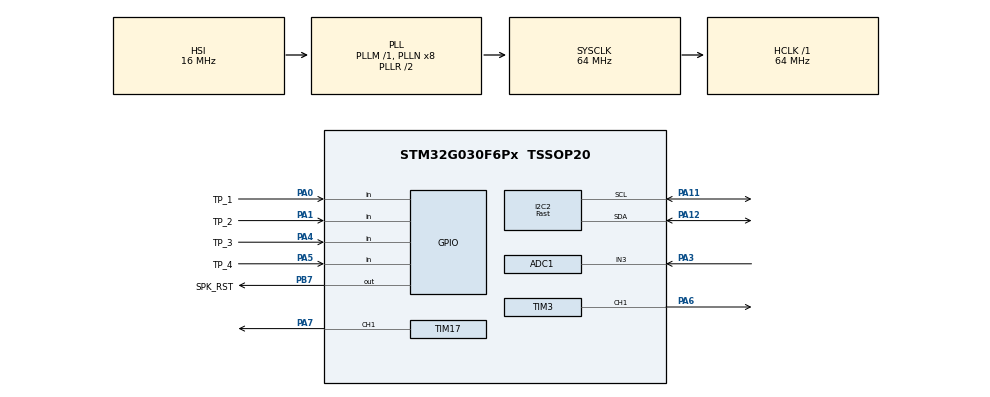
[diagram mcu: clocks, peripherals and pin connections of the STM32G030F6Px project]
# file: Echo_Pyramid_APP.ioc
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ADC1.NbrOfConversion=1
ADC1.NbrOfConversionFlag=0
ADC1.SamplingTimeCommon1=ADC_SAMPLETIME_160CYCLES_5
ADC1.SelectedChannel=ADC_CHANNEL_3|ADC_CHANNEL_VREFINT
ADC1.Sequencer=NOT_FULLY_CONFIGURABLE
ADC1.master=1
Dma.Request0=TIM3_CH1
Dma.Request1=TIM17_CH1
Dma.TIM17_CH1.1.Direction=DMA_MEMORY_TO_PERIPH
Dma.TIM17_CH1.1.EventEnable=DISABLE
Dma.TIM17_CH1.1.Instance=DMA1_Channel2
Dma.TIM17_CH1.1.MemDataAlignment=DMA_MDATAALIGN_BYTE
Dma.TIM17_CH1.1.MemInc=DMA_MINC_ENABLE
Dma.TIM17_CH1.1.Mode=DMA_NORMAL
Dma.TIM17_CH1.1.PeriphDataAlignment=DMA_PDATAALIGN_HALFWORD
Dma.TIM17_CH1.1.PeriphInc=DMA_PINC_DISABLE
Dma.TIM17_CH1.1.Polarity=HAL_DMAMUX_REQ_GEN_RISING
Dma.TIM17_CH1.1.Priority=DMA_PRIORITY_HIGH
Dma.TIM17_CH1.1.RequestNumber=1
Dma.TIM17_CH1.1.SignalID=NONE
Dma.TIM17_CH1.1.SyncEnable=DISABLE
Dma.TIM17_CH1.1.SyncPolarity=HAL_DMAMUX_SYNC_NO_EVENT
Dma.TIM17_CH1.1.SyncRequestNumber=1
Dma.TIM17_CH1.1.SyncSignalID=NONE
Dma.TIM3_CH1.0.Direction=DMA_MEMORY_TO_PERIPH
Dma.TIM3_CH1.0.EventEnable=DISABLE
Dma.TIM3_CH1.0.Instance=DMA1_Channel1
Dma.TIM3_CH1.0.MemDataAlignment=DMA_MDATAALIGN_BYTE
Dma.TIM3_CH1.0.MemInc=DMA_MINC_ENABLE
Dma.TIM3_CH1.0.Mode=DMA_NORMAL
Dma.TIM3_CH1.0.PeriphDataAlignment=DMA_PDATAALIGN_HALFWORD
Dma.TIM3_CH1.0.PeriphInc=DMA_PINC_DISABLE
Dma.TIM3_CH1.0.Polarity=HAL_DMAMUX_REQ_GEN_RISING
Dma.TIM3_CH1.0.Priority=DMA_PRIORITY_HIGH
Dma.TIM3_CH1.0.RequestNumber=1
Dma.TIM3_CH1.0.SignalID=NONE
Dma.TIM3_CH1.0.SyncEnable=DISABLE
Dma.TIM3_CH1.0.SyncPolarity=HAL_DMAMUX_SYNC_NO_EVENT
Dma.TIM3_CH1.0.SyncRequestNumber=1
Dma.TIM3_CH1.0.SyncSignalID=NONE
I2C2.I2C_Speed_Mode=I2C_Fast
I2C2.OwnAddress=0x1A<<1
I2C2.Timing=0x00C12166
IWDG.Prescaler=IWDG_PRESCALER_16
Mcu.Family=STM32G0
Mcu.Name=STM32G030F6Px
Mcu.Package=TSSOP20
NVIC.DMA1_Channel1_IRQn=true\:1\:0\:true\:false\:true\:false\:true\:true
NVIC.DMA1_Channel2_3_IRQn=true\:1\:0\:true\:false\:true\:false\:true\:true
NVIC.I2C2_IRQn=true\:0\:0\:false\:false\:true\:true\:true\:true
PA0.GPIO_Label=TP_1
PA0.GPIO_PuPd=GPIO_PULLUP
PA0.Signal=GPIO_Input
PA1.GPIO_Label=TP_2
PA1.GPIO_PuPd=GPIO_PULLUP
PA1.Signal=GPIO_Input
PA11\ [PA9].GPIO_Pu=GPIO_PULLUP
PA11\ [PA9].Mode=I2C
PA11\ [PA9].PinState=GPIO_PIN_SET
PA11\ [PA9].Signal=I2C2_SCL
PA12\ [PA10].GPIO_Pu=GPIO_PULLUP
PA12\ [PA10].Mode=I2C
PA12\ [PA10].PinState=GPIO_PIN_SET
PA12\ [PA10].Signal=I2C2_SDA
PA13.Mode=Serial_Wire
PA13.Signal=SYS_SWDIO
PA14-BOOT0.Mode=Serial_Wire
PA14-BOOT0.Signal=SYS_SWCLK
PA14-BOOT0__PA15.StandardMode=true
PA3.Mode=IN3
PA3.Signal=ADC1_IN3
PA4.GPIO_Label=TP_3
PA4.GPIO_PuPd=GPIO_PULLUP
PA4.Signal=GPIO_Input
PA5.GPIO_Label=TP_4
PA5.GPIO_PuPd=GPIO_PULLUP
PA5.Signal=GPIO_Input
PA6.Signal=S_TIM3_CH1
PA7.Signal=S_TIM17_CH1
PB0__PB1__PB2__PA8.StandardMode=true
PB3__PB4__PB5__PB6.StandardMode=true
PB7.GPIO_FM7=SYSCFG_FASTMODEPLUS_PB7
PB7.GPIO_Label=SPK_RST
PB7.GPIO_PuPd=GPIO_PULLUP
PB7.GPIO_Speed=GPIO_SPEED_FREQ_HIGH
PB7.PinState=GPIO_PIN_SET
PB7.Signal=GPIO_Output
PB7__PB8.StandardMode=true
PC14-OSC32_IN\ (PC14)__PB9.StandardMode=true
ProjectManager.HeapSize=0x200
ProjectManager.StackSize=0x400
ProjectManager.TargetToolchain=STM32CubeIDE
RCC.ADCFreq_Value=64000000
RCC.AHBFreq_Value=64000000
RCC.CortexFreq_Value=64000000
RCC.EXTERNAL_CLOCK_VALUE=12288000
RCC.HCLKFreq_Value=64000000
RCC.HSE_VALUE=8000000
RCC.HSI_VALUE=16000000
RCC.LSE_VALUE=32768
RCC.SYSCLKFreq_VALUE=64000000
RCC.SYSCLKSource=RCC_SYSCLKSOURCE_PLLCLK
RCC.VCOOutputFreq_Value=128000000
SH.S_TIM17_CH1.0=TIM17_CH1,PWM Generation1 CH1
SH.S_TIM3_CH1.0=TIM3_CH1,PWM Generation1 CH1
TIM17.Channel=TIM_CHANNEL_1
TIM17.Period=79
TIM3.Channel-PWM\ Generation1\ CH1=TIM_CHANNEL_1
TIM3.Period=79
VP_ADC1_Vref_Input.Mode=IN-Vrefint
VP_IWDG_VS_IWDG.Mode=IWDG_Activate
VP_TIM17_VS_ClockSourceINT.Mode=Enable_Timer
VP_TIM3_VS_ClockSourceINT.Mode=Internal
board=custom

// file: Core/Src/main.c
/* USER CODE BEGIN Header */
/**
 ******************************************************************************
 * @file           : main.c
 * @brief          : Main program body
 ******************************************************************************
 * @attention
 *
 * Copyright (c) 2025 STMicroelectronics.
 * All rights reserved.
 *
 * This software is licensed under terms that can be found in the LICENSE file
 * in the root directory of this software component.
 * If no LICENSE file comes with this software, it is provided AS-IS.
 *
 ******************************************************************************
 */
/* USER CODE END Header */
#include "main.h"
#include "adc.h"
#include "dma.h"
#include "i2c.h"
#include "iwdg.h"
#include "tim.h"
#include "gpio.h"

/* USER CODE BEGIN Includes */
#include "i2c_ex.h"
#include "rgb.h"
#include "myflash.h"
#include "string.h"
#include "stm32g0xx_ll_adc.h"
/* USER CODE END Includes */

/* USER CODE BEGIN PV */
__IO uint8_t touch_button_status_reg[4] = {0};
__IO uint8_t rgb_brightness_reg[2]      = {0};
__IO uint8_t rgb1_status_reg[14][4]     = {0};
__IO uint8_t rgb2_status_reg[14][4]     = {0};
__IO uint8_t spk_restart_reg            = 0;
__IO uint16_t usb_5v_reg                = 0;
__IO uint8_t flash_write_back_reg       = 0;
__IO uint8_t iap_update_reg             = 0;
__IO uint8_t sw_ver_reg                 = FIRMWARE_VERSION;
__IO uint8_t i2c_addr_reg               = I2C_ADDR_REG_DEFAULT;

__IO uint32_t i2c_stop_timeout_delay       = 0;
__IO uint32_t spk_restart_tick             = 0;
__IO uint8_t rgb_brightness_change_flag[2] = {0};
__IO uint8_t rgb_value_change_flag[2]      = {0};
__IO uint8_t rgb_send_complete_flag[2]     = {1, 1};
__IO uint32_t last_adc_tick                = 0;

static GPIO_TypeDef *const gpio_ports[TOUCH_BUTTON_COUNT] = {TP_4_GPIO_Port, TP_1_GPIO_Port, TP_2_GPIO_Port,
                                                             TP_3_GPIO_Port};

static const uint32_t gpio_pins[TOUCH_BUTTON_COUNT] = {TP_4_Pin, TP_1_Pin, TP_2_Pin, TP_3_Pin};

/* USER CODE END PV */

void SystemClock_Config(void);

/* USER CODE BEGIN 0 */

static void iap_set()
{
    uint8_t i;
    uint32_t *pVecTab = (uint32_t *)(0x20000000);
    for (i = 0; i < 48; i++) {
        *(pVecTab++) = *(__IO uint32_t *)(APPLICATION_ADDRESS + (i << 2));
    }
    __HAL_RCC_SYSCFG_CLK_ENABLE();
    __HAL_SYSCFG_REMAPMEMORY_SRAM();
}

static void echo_pyramid_init(void)
{
    uint8_t flag1 = 0, flag2 = 0;

    // Process RGB1 brightness
    uint8_t rgb1_brightness = get_echo_pyramid_rgb1_brightness();
    if (rgb1_brightness == 0xFF) {
        flag1++;
        rgb_brightness_reg[0] = RGB_BRIGHTNESS_DEFAULT;
    } else {
        rgb_brightness_reg[0] = rgb1_brightness;
    }

    // Process RGB2 brightness
    uint8_t rgb2_brightness = get_echo_pyramid_rgb2_brightness();
    if (rgb2_brightness == 0xFF) {
        flag2++;
        rgb_brightness_reg[1] = RGB_BRIGHTNESS_DEFAULT;
    } else {
        rgb_brightness_reg[1] = rgb2_brightness;
    }

    // Update RGB1 settings if modified
    if (flag1) {
        set_echo_pyramid_rgb1_brightness(rgb_brightness_reg[0]);
    }

    // Update RGB2 settings if modified
    if (flag2) {
        set_echo_pyramid_rgb2_brightness(rgb_brightness_reg[1]);
    }

    // Process I2C address
    uint8_t i2c_addr = get_i2c_addr();
    if (i2c_addr == 0xFF) {
        i2c_addr_reg = I2C_ADDR_REG_DEFAULT;
        set_i2c_addr(I2C_ADDR_REG_DEFAULT);
    } else {
        i2c_addr_reg = i2c_addr;
    }
}

void Slave_Complete_Callback(uint8_t *rx_data, uint16_t len)
{
    uint8_t rx_buf[64]  = {0};
    uint8_t tx_buf[64]  = {0};
    uint8_t rx_mark[64] = {0};
    if (len > 1) {
        if (rx_data[0] >= RGB1_BRIGHTNESS_REG_ADDR && rx_data[0] <= RGB2_BRIGHTNESS_REG_ADDR && len <= 3) {
            uint8_t offset = rx_data[0] - RGB1_BRIGHTNESS_REG_ADDR;
            uint8_t limit  = len - 1;

            for (uint8_t i = 0; i < limit; i++) {
                uint8_t index  = offset + i;
                rx_buf[index]  = rx_data[i + 1];
                rx_mark[index] = 1;
            }

            for (uint8_t i = 0; i < 2; i++) {
                if (rx_mark[i] && rx_buf[i] <= 100 && rgb_brightness_reg[i] != rx_buf[i]) {
                    rgb_brightness_reg[i] = rx_buf[i];
                    (i == 0) ? (rgb_brightness_change_flag[0] = 1) : (rgb_brightness_change_flag[1] = 1);
                }
            }
        } else if (rx_data[0] >= RGB1_STATUS_REG_ADDR && rx_data[0] <= (RGB1_STATUS_REG_ADDR + 55) && len <= 57) {
            uint8_t offset = rx_data[0] - RGB1_STATUS_REG_ADDR;
            uint8_t limit  = len - 1;

            for (uint8_t i = 0; i < limit; i++) {
                uint8_t index  = offset + i;
                rx_buf[index]  = rx_data[i + 1];
                rx_mark[index] = 1;
            }

            for (uint8_t i = 0; i < 56; i++) {
                if (rx_mark[i]) {
                    uint8_t rgb_index = i / 4;
                    uint8_t sub_index = i % 4;
                    if (rgb1_status_reg[rgb_index][sub_index] != rx_buf[i]) {
                        rgb1_status_reg[rgb_index][sub_index] = rx_buf[i];
                        rgb_value_change_flag[0]              = 1;
                    }
                }
            }

        } else if (rx_data[0] >= RGB2_STATUS_REG_ADDR && rx_data[0] <= (RGB2_STATUS_REG_ADDR + 55) && len <= 57) {
            uint8_t offset = rx_data[0] - RGB2_STATUS_REG_ADDR;
            uint8_t limit  = len - 1;
            for (uint8_t i = 0; i < limit; i++) {
                uint8_t index  = offset + i;
                rx_buf[index]  = rx_data[i + 1];
                rx_mark[index] = 1;
            }

            for (uint8_t i = 0; i < 56; i++) {
                if (rx_mark[i]) {
                    uint8_t rgb_index = i / 4;
                    uint8_t sub_index = i % 4;

                    if (rgb2_status_reg[rgb_index][sub_index] != rx_buf[i]) {
                        rgb2_status_reg[rgb_index][sub_index] = rx_buf[i];
                        rgb_value_change_flag[1]              = 1;
                    }
                }
            }

        } else if (rx_data[0] == SPK_RESTART_REG_ADDR && len == 2) {
            if (rx_data[1] == SPK_RESTART_VALUE) {
                if (spk_restart_reg != SPK_RESTART_VALUE) {
                    spk_restart_reg = SPK_RESTART_VALUE;
                }
            }
        } else if (rx_data[0] == FLASH_WRITE_BACK_REG_ADDR && len == 2) {
            if (rx_data[1] == FLASH_WRITE_BACK_RGB1_VALUE) {
                if (rgb_brightness_reg[0] != get_echo_pyramid_rgb1_brightness()) {
                    set_echo_pyramid_rgb1_brightness(rgb_brightness_reg[0]);
                }
            } else if (rx_data[1] == FLASH_WRITE_BACK_RGB2_VALUE) {
                if (rgb_brightness_reg[1] != get_echo_pyramid_rgb2_brightness()) {
                    set_echo_pyramid_rgb2_brightness(rgb_brightness_reg[1]);
                }
            }
        } else if (rx_data[0] == IAP_UPDATE_REG_ADDR && len == 2) {
            if (rx_data[1] == IAP_UPDATE_VALUE) {
                NVIC_SystemReset();
            }
        } else if (rx_data[0] == I2C_ADDR_REG_ADDR && len == 2) {
            if (rx_data[1] >= I2C_ADDR_REG_MIN && rx_data[1] <= I2C_ADDR_REG_MAX) {
                if (i2c_addr_reg != rx_data[1]) {
                    i2c_addr_reg = rx_data[1];
                    set_i2c_addr(rx_data[1]);
                    user_i2c_init();
                }
            }
        }
    }
    if (len == 1) {
        if (rx_data[0] <= 0x03) {
            uint8_t *src_ptr = (uint8_t *)(touch_button_status_reg + rx_data[0] - 0x00);
            uint8_t data_len = TOUCH_BUTTON_COUNT - rx_data[0];
            memcpy(tx_buf, src_ptr, data_len);
            i2c2_set_send_data(tx_buf, data_len);
        } else if (rx_data[0] >= 0x10 && rx_data[0] <= 0x11) {
            uint8_t *src_ptr = (uint8_t *)(rgb_brightness_reg + rx_data[0] - 0x10);
            uint8_t data_len = 2 + 0x10 - rx_data[0];
            memcpy(tx_buf, src_ptr, data_len);
            i2c2_set_send_data(tx_buf, data_len);
        } else if (rx_data[0] >= 0x20 && rx_data[0] <= 0x57) {
            uint8_t *src_ptr = (uint8_t *)rgb1_status_reg + (rx_data[0] - 0x20);
            uint8_t data_len = 56 + 0x20 - rx_data[0];
            memcpy(tx_buf, src_ptr, data_len);
            i2c2_set_send_data(tx_buf, data_len);
        } else if (rx_data[0] >= 0x60 && rx_data[0] <= 0x97) {
            uint8_t *src_ptr = (uint8_t *)rgb2_status_reg + (rx_data[0] - 0x60);
            uint8_t data_len = 56 + 0x60 - rx_data[0];
            memcpy(tx_buf, src_ptr, data_len);
            i2c2_set_send_data(tx_buf, data_len);
        } else if (rx_data[0] >= USB_5V_REG_ADDR && rx_data[0] <= (USB_5V_REG_ADDR + 1)) {
            uint8_t usb_bytes[2] = {(uint8_t)(usb_5v_reg & 0xFF), (uint8_t)(usb_5v_reg >> 8)};
            uint8_t offset       = rx_data[0] - USB_5V_REG_ADDR;
            memcpy(tx_buf, usb_bytes + offset, 2 - offset);
            i2c2_set_send_data(tx_buf, 2 - offset);
        } else if (rx_data[0] == 0xFE) {
            tx_buf[0] = sw_ver_reg;
            i2c2_set_send_data(tx_buf, 1);
        } else if (rx_data[0] == 0xFF) {
            tx_buf[0] = i2c_addr_reg;
            i2c2_set_send_data(tx_buf, 1);
        }
    }
}

static void update_button_status(void)
{
    for (uint8_t i = 0; i < TOUCH_BUTTON_COUNT; i++) {
        uint8_t new_status =
            (LL_GPIO_IsInputPinSet(gpio_ports[i], gpio_pins[i]) == 0) ? TOUCH_BUTTON_PRESSED : TOUCH_BUTTON_RELEASED;

        if (touch_button_status_reg[i] != new_status) {
            touch_button_status_reg[i] = new_status;
        }
    }
}

static void app_handle_spk_restart(void)
{
    uint32_t tick = HAL_GetTick();
    if (spk_restart_tick == 0) {
        spk_restart_tick = tick;
        LL_GPIO_ResetOutputPin(SPK_RST_GPIO_Port, SPK_RST_Pin);
    } else if (tick - spk_restart_tick >= SPK_RESTART_TIME) {
        LL_GPIO_SetOutputPin(SPK_RST_GPIO_Port, SPK_RST_Pin);
        spk_restart_tick = 0;
        spk_restart_reg  = 0;
    }
}

static uint16_t user_adc_get_adc_value(uint32_t adc_channel)
{
    uint8_t valid_count            = 0;  // Record the number of successful collections / 记录成功采集的次数
    uint32_t sum                   = 0;  // Accumulator for the samples / 样本累加器
    ADC_ChannelConfTypeDef sConfig = {0};

    // Clear the Channel Selection Register (Critical for STM32G0/C0 series to reset sequence)
    // 清除通道选择寄存器（对于 STM32G0/C0 系列重置序列至关重要）
    hadc1.Instance->CHSELR = 0;

    sConfig.Channel      = adc_channel;
    sConfig.Rank         = ADC_RANK_CHANNEL_NUMBER;
    sConfig.SamplingTime = ADC_SAMPLETIME_79CYCLES_5;

    // Configure the ADC channel. If configuration fails, return error immediately.
    // 配置 ADC 通道。如果配置失败，直接返回错误。
    if (HAL_ADC_ConfigChannel(&hadc1, &sConfig) != HAL_OK) {
        return 0xFFFF;
    }

    // Loop to sample 20 times / 循环采集 20 次
    for (uint8_t i = 0; i < 20; i++) {
        HAL_ADC_Start(&hadc1);

        // Wait for conversion completion, timeout set to 2ms (sufficient for single conversion)
        // 等待转换完成，超时设为 2ms (足够单次转换了)
        if (HAL_ADC_PollForConversion(&hadc1, 2) == HAL_OK) {
            sum += HAL_ADC_GetValue(&hadc1);
            valid_count++;
        } else {
            // If timeout occurs, stop to reset state and skip this sample (continue to next loop)
            // 如果发生超时，停止以复位状态并跳过此次采样（继续下一次循环）
            HAL_ADC_Stop(&hadc1);
        }
    }

    HAL_ADC_Stop(&hadc1);  // End sampling, stop ADC / 采集结束，停止 ADC

    // Calculate average only if there are enough successful samples
    // 只有当成功采集次数足够多才计算平均值
    if (valid_count > 0) {
        return (uint16_t)(sum / valid_count);  // The divisor is the actual successful count / 除数是实际成功的次数
    } else {
        return 0xFFFF;  // All failed, return error / 全部失败，返回错误
    }
}

void user_adc_update_usb_5v(void)
{
    uint32_t temp            = 0;
    uint16_t adc_raw         = 0;
    uint16_t vref_mv         = 0;
    uint16_t usb_5v_reg_temp = 0;

    // 1. 获取参考电压
    adc_raw = user_adc_get_adc_value(ADC_CHANNEL_VREFINT);
    if (adc_raw == 0xFFFF) {
        return;  // VrefInt 失败，直接退出，保留上次有效值
    }
    vref_mv = __HAL_ADC_CALC_VREFANALOG_VOLTAGE(adc_raw, LL_ADC_RESOLUTION_12B);

    // 2. 获取 USB 5V 电压
    usb_5v_reg_temp = user_adc_get_adc_value(ADC_CHANNEL_3);
    if (usb_5v_reg_temp == 0xFFFF) {
        return;  // USB 5V 采集失败，保留上次有效值
    }

    // 3. 计算实际电压并更新全局变量
    temp       = __HAL_ADC_CALC_DATA_TO_VOLTAGE(vref_mv, usb_5v_reg_temp, LL_ADC_RESOLUTION_12B);
    usb_5v_reg = (uint16_t)(temp * 2);
}
/* USER CODE END 0 */

int main(void)
{
    /* USER CODE BEGIN 1 */
    iap_set();
    echo_pyramid_init();
    /* USER CODE END 1 */

    /* MCU Configuration--------------------------------------------------------*/

    /* Reset of all peripherals, Initializes the Flash interface and the Systick. */
    HAL_Init();

    /* Configure the system clock */
    SystemClock_Config();

    /* Initialize all configured peripherals */
    MX_GPIO_Init();
    MX_DMA_Init();
    MX_I2C2_Init();
    MX_IWDG_Init();
    MX_TIM3_Init();
    MX_TIM17_Init();
    MX_ADC1_Init();
    /* USER CODE BEGIN 2 */
    rgb_init();
    user_i2c_init();
    i2c2_it_enable();
    // HAL_Delay(1000);
    // rgb_test();
    HAL_ADCEx_Calibration_Start(&hadc1);
    last_adc_tick = HAL_GetTick();
    /* USER CODE END 2 */

    /* Infinite loop */
    /* USER CODE BEGIN WHILE */
    while (1) {
        update_button_status();
        if (rgb_value_change_flag[RGB_DEVICE_1] || rgb_brightness_change_flag[RGB_DEVICE_1]) {
            if (rgb_send_complete_flag[RGB_DEVICE_1]) {
                rgb_send_complete_flag[RGB_DEVICE_1]     = 0;
                rgb_value_change_flag[RGB_DEVICE_1]      = 0;
                rgb_brightness_change_flag[RGB_DEVICE_1] = 0;
                rgb_show(RGB_DEVICE_1);
            }
        }

        if (rgb_value_change_flag[RGB_DEVICE_2] || rgb_brightness_change_flag[RGB_DEVICE_2]) {
            if (rgb_send_complete_flag[RGB_DEVICE_2]) {
                rgb_send_complete_flag[RGB_DEVICE_2]     = 0;
                rgb_value_change_flag[RGB_DEVICE_2]      = 0;
                rgb_brightness_change_flag[RGB_DEVICE_2] = 0;
                rgb_show(RGB_DEVICE_2);
            }
        }

        if (spk_restart_reg == SPK_RESTART_VALUE) {
            app_handle_spk_restart();
        }

        i2c_timeout_counter = 0;
        if (i2c_stop_timeout_flag) {
            if (i2c_stop_timeout_delay < HAL_GetTick()) {
                i2c_stop_timeout_counter++;
                i2c_stop_timeout_delay = HAL_GetTick() + 10;
            }
        }
        if (i2c_stop_timeout_counter > 50) {
            LL_I2C_DeInit(I2C2);
            LL_I2C_DisableAutoEndMode(I2C2);
            LL_I2C_Disable(I2C2);
            LL_I2C_DisableIT_ADDR(I2C2);
            user_i2c_init();
            i2c2_it_enable();
            HAL_Delay(500);
        }

        if (HAL_GetTick() - last_adc_tick >= 1000) {
            user_adc_update_usb_5v();
            last_adc_tick = HAL_GetTick();
        }

        /* USER CODE END WHILE */

        /* USER CODE BEGIN 3 */
        LL_IWDG_ReloadCounter(IWDG);
    }
    /* USER CODE END 3 */
}

void SystemClock_Config(void)
{
    RCC_OscInitTypeDef RCC_OscInitStruct = {0};
    RCC_ClkInitTypeDef RCC_ClkInitStruct = {0};

    /** Configure the main internal regulator output voltage
     */
    HAL_PWREx_ControlVoltageScaling(PWR_REGULATOR_VOLTAGE_SCALE1);

    /** Initializes the RCC Oscillators according to the specified parameters
     * in the RCC_OscInitTypeDef structure.
     */
    RCC_OscInitStruct.OscillatorType      = RCC_OSCILLATORTYPE_HSI | RCC_OSCILLATORTYPE_LSI;
    RCC_OscInitStruct.HSIState            = RCC_HSI_ON;
    RCC_OscInitStruct.HSIDiv              = RCC_HSI_DIV1;
    RCC_OscInitStruct.HSICalibrationValue = RCC_HSICALIBRATION_DEFAULT;
    RCC_OscInitStruct.LSIState            = RCC_LSI_ON;
    RCC_OscInitStruct.PLL.PLLState        = RCC_PLL_ON;
    RCC_OscInitStruct.PLL.PLLSource       = RCC_PLLSOURCE_HSI;
    RCC_OscInitStruct.PLL.PLLM            = RCC_PLLM_DIV1;
    RCC_OscInitStruct.PLL.PLLN            = 8;
    RCC_OscInitStruct.PLL.PLLP            = RCC_PLLP_DIV2;
    RCC_OscInitStruct.PLL.PLLR            = RCC_PLLR_DIV2;
    if (HAL_RCC_OscConfig(&RCC_OscInitStruct) != HAL_OK) {
        Error_Handler();
    }

    /** Initializes the CPU, AHB and APB buses clocks
     */
    RCC_ClkInitStruct.ClockType      = RCC_CLOCKTYPE_HCLK | RCC_CLOCKTYPE_SYSCLK | RCC_CLOCKTYPE_PCLK1;
    RCC_ClkInitStruct.SYSCLKSource   = RCC_SYSCLKSOURCE_PLLCLK;
    RCC_ClkInitStruct.AHBCLKDivider  = RCC_SYSCLK_DIV1;
    RCC_ClkInitStruct.APB1CLKDivider = RCC_HCLK_DIV1;

    if (HAL_RCC_ClockConfig(&RCC_ClkInitStruct, FLASH_LATENCY_2) != HAL_OK) {
        Error_Handler();
    }
}

void Error_Handler(void)
{
    __disable_irq();
    while (1) {
    }
}
